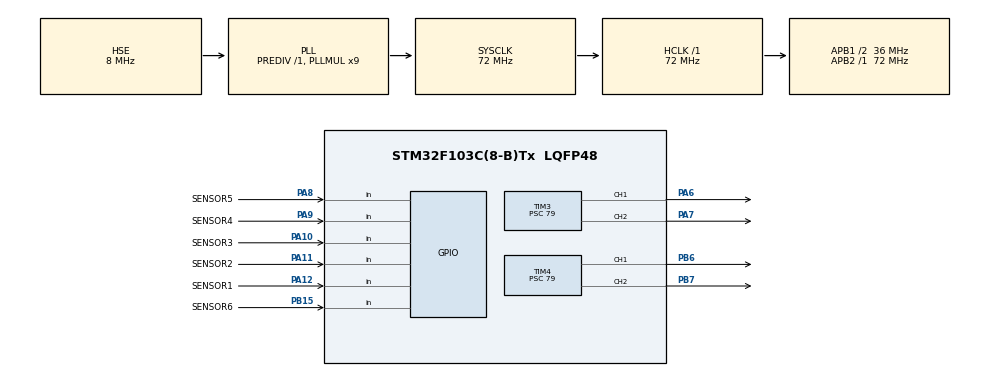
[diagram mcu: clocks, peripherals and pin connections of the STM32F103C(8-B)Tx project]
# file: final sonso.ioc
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Mcu.Family=STM32F1
Mcu.Name=STM32F103C(8-B)Tx
Mcu.Package=LQFP48
NVIC.PriorityGroup=NVIC_PRIORITYGROUP_4
PA10.GPIO_Label=SENSOR3
PA10.Signal=GPIO_Input
PA11.GPIO_Label=SENSOR2
PA11.Signal=GPIO_Input
PA12.GPIO_Label=SENSOR1
PA12.Signal=GPIO_Input
PA13.Mode=Serial_Wire
PA13.Signal=SYS_JTMS-SWDIO
PA14.Mode=Serial_Wire
PA14.Signal=SYS_JTCK-SWCLK
PA6.Signal=S_TIM3_CH1
PA7.Signal=S_TIM3_CH2
PA8.GPIO_Label=SENSOR5
PA8.Signal=GPIO_Input
PA9.GPIO_Label=SENSOR4
PA9.Signal=GPIO_Input
PB15.GPIO_Label=SENSOR6
PB15.Signal=GPIO_Input
PB6.Signal=S_TIM4_CH1
PB7.Signal=S_TIM4_CH2
PD0-OSC_IN.Mode=HSE-External-Oscillator
PD0-OSC_IN.Signal=RCC_OSC_IN
PD1-OSC_OUT.Mode=HSE-External-Oscillator
PD1-OSC_OUT.Signal=RCC_OSC_OUT
ProjectManager.HeapSize=0x200
ProjectManager.StackSize=0x400
ProjectManager.TargetToolchain=STM32CubeIDE
RCC.AHBFreq_Value=72000000
RCC.APB1CLKDivider=RCC_HCLK_DIV2
RCC.APB1Freq_Value=36000000
RCC.APB1TimFreq_Value=72000000
RCC.APB2Freq_Value=72000000
RCC.APB2TimFreq_Value=72000000
RCC.HCLKFreq_Value=72000000
RCC.PLLMUL=RCC_PLL_MUL9
RCC.PLLSourceVirtual=RCC_PLLSOURCE_HSE
RCC.SYSCLKFreq_VALUE=72000000
RCC.SYSCLKSource=RCC_SYSCLKSOURCE_PLLCLK
RCC.USBFreq_Value=72000000
SH.S_TIM3_CH1.0=TIM3_CH1,PWM Generation1 CH1
SH.S_TIM3_CH2.0=TIM3_CH2,PWM Generation2 CH2
SH.S_TIM4_CH1.0=TIM4_CH1,PWM Generation1 CH1
SH.S_TIM4_CH2.0=TIM4_CH2,PWM Generation2 CH2
TIM3.Channel-PWM\ Generation1\ CH1=TIM_CHANNEL_1
TIM3.Channel-PWM\ Generation2\ CH2=TIM_CHANNEL_2
TIM3.Period=999
TIM3.Prescaler=79
TIM3.Pulse-PWM\ Generation1\ CH1=199
TIM3.Pulse-PWM\ Generation2\ CH2=199
TIM4.Channel-PWM\ Generation1\ CH1=TIM_CHANNEL_1
TIM4.Channel-PWM\ Generation2\ CH2=TIM_CHANNEL_2
TIM4.Period=999
TIM4.Prescaler=79
TIM4.Pulse-PWM\ Generation1\ CH1=199
TIM4.Pulse-PWM\ Generation2\ CH2=199
VP_TIM3_VS_ClockSourceINT.Mode=Internal
VP_TIM4_VS_ClockSourceINT.Mode=Internal
board=custom

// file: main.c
/* USER CODE BEGIN Header */
/**
  ******************************************************************************
  * @file           : main.c
  * @brief          : Main program body
  ******************************************************************************
  * @attention
  *
  * Copyright (c) 2024 STMicroelectronics.
  * All rights reserved.
  *
  * This software is licensed under terms that can be found in the LICENSE file
  * in the root directory of this software component.
  * If no LICENSE file comes with this software, it is provided AS-IS.
  *
  ******************************************************************************
  */
/* USER CODE END Header */
#include "main.h"

/* USER CODE BEGIN PM */
/*#define SENSOR1_GPIO_Port GPIOA
#define SENSOR1_Pin GPIO_PIN_8

#define SENSOR2_GPIO_Port GPIOA
#define SENSOR2_Pin GPIO_PIN_9

#define SENSOR3_GPIO_Port GPIOA
#define SENSOR3_Pin GPIO_PIN_10

#define SENSOR4_GPIO_Port GPIOA
#define SENSOR4_Pin GPIO_PIN_11

#define SENSOR5_GPIO_Port GPIOA
#define SENSOR5_Pin GPIO_PIN_12

#define SENSOR6_GPIO_Port GPIOB
#define SENSOR6_Pin GPIO_PIN_15*/
/* USER CODE END PM */

TIM_HandleTypeDef htim3;
TIM_HandleTypeDef htim4;

/* USER CODE BEGIN PV */
int sensor_read = 0x000000;
	  	int position;

	  	float Kp = 10; //set up the constants value
	  	float Ki = 1;
	  	float Kd = 0.15;
	  	float Kr = 0;
	  	int P, I, D, R;
	  	int lastError = 0;
	  	int errors[10] = {0,0,0,0,0,0,0,0,0,0};// chú ý cái này để lưu lại giá trị các sai lệch đo được trong quá khư
	  	//int error_sum = 0;//
	  	int last_end = 0;	// 0 -> Left, 1 -> Right
	  	int last_idle ;
	  	int actives = 0;
	  	int straight = 0;

	  	const uint8_t maxspeedr = 100;
	  	const uint8_t maxspeedl = 100;
	  	const uint8_t basespeedr = 92;
	  	const uint8_t basespeedl = 92;
	  	const int ARR = 10;

/* USER CODE END PV */

void SystemClock_Config(void);
static void MX_GPIO_Init(void);
static void MX_TIM3_Init(void);
static void MX_TIM4_Init(void);

/* USER CODE BEGIN 0 */
void Set_Pin_Output (GPIO_TypeDef *GPIOx, uint16_t GPIO_Pin)
	  	{
	  		GPIO_InitTypeDef GPIO_InitStruct = {0};
	  		GPIO_InitStruct.Pin = GPIO_Pin;
	  		GPIO_InitStruct.Mode = GPIO_MODE_OUTPUT_PP;
	  		GPIO_InitStruct.Speed = GPIO_SPEED_FREQ_LOW;
	  		HAL_GPIO_Init(GPIOx, &GPIO_InitStruct);
	  	}

	  	void Set_Pin_Input (GPIO_TypeDef *GPIOx, uint16_t GPIO_Pin)
	  	{
	  		GPIO_InitTypeDef GPIO_InitStruct = {0};
	  		GPIO_InitStruct.Pin = GPIO_Pin;
	  		GPIO_InitStruct.Mode = GPIO_MODE_INPUT;
	  		GPIO_InitStruct.Pull = GPIO_PULLUP;
	  		HAL_GPIO_Init(GPIOx, &GPIO_InitStruct);
	  	}

	  	void motor_control (double pos_right, double pos_left)
	  	{
	  		if (pos_left < 0 )
	  		{
	  			__HAL_TIM_SET_COMPARE (&htim3, TIM_CHANNEL_1, ARR*0);
	  			__HAL_TIM_SET_COMPARE (&htim3, TIM_CHANNEL_2, ARR*pos_left);
	  		}
	  		else
	  		{
	  			__HAL_TIM_SET_COMPARE (&htim3, TIM_CHANNEL_1, ARR*pos_left);
	  			__HAL_TIM_SET_COMPARE (&htim3, TIM_CHANNEL_2, ARR*0);
	  		}
	  		if (pos_right < 0 )
	  		{
	  			__HAL_TIM_SET_COMPARE (&htim4, TIM_CHANNEL_1, ARR*0);
	  			__HAL_TIM_SET_COMPARE (&htim4, TIM_CHANNEL_2, ARR*pos_right);
	  		}
	  		else
	  		{
	  			__HAL_TIM_SET_COMPARE (&htim4, TIM_CHANNEL_1, ARR*pos_right);
	  			__HAL_TIM_SET_COMPARE (&htim4, TIM_CHANNEL_2, ARR*0);
	  		}
	  	}

	  	void sharp_turn () {

	  		if (last_idle < 25)
	  		{
	  			if (last_end == 1)
	  				motor_control(-20, 100);
	  			if (last_end == 2)
	  				motor_control(100, 100);
	  			if(straight == 1 )
	  				motor_control(100, 100);

	  			else
	  				motor_control(100, -20);
	  		}
	  		else
	  		{
	  			if (last_end == 1)
	  				motor_control(-53, 70);
	  			if (last_end == 2)
	  				motor_control(100, 100);
	  			if(straight ==1 )
	  				motor_control(100, 100);

	  			else
	  				motor_control(70, -53);
	  		}
	  	}

	  	int QTR8_read ()
	  	{
	  	//	HAL_GPIO_WritePin(LEDON_GPIO_Port, LEDON_Pin, 1);

	  		Set_Pin_Output(SENSOR1_GPIO_Port, SENSOR1_Pin);
	  		Set_Pin_Output(SENSOR2_GPIO_Port, SENSOR2_Pin);
	  		Set_Pin_Output(SENSOR3_GPIO_Port, SENSOR3_Pin);
	  		Set_Pin_Output(SENSOR4_GPIO_Port, SENSOR4_Pin);
	  		Set_Pin_Output(SENSOR5_GPIO_Port, SENSOR5_Pin);
	  		Set_Pin_Output(SENSOR6_GPIO_Port, SENSOR6_Pin);
	  		//Set_Pin_Output(SENSOR7_GPIO_Port, SENSOR7_Pin);
	  		//Set_Pin_Output(SENSOR8_GPIO_Port, SENSOR8_Pin);

	  		HAL_GPIO_WritePin (SENSOR1_GPIO_Port, SENSOR1_Pin, 1);
	  		HAL_GPIO_WritePin (SENSOR2_GPIO_Port, SENSOR2_Pin, 1);
	  		HAL_GPIO_WritePin (SENSOR3_GPIO_Port, SENSOR3_Pin, 1);
	  		HAL_GPIO_WritePin (SENSOR4_GPIO_Port, SENSOR4_Pin, 1);
	  		HAL_GPIO_WritePin (SENSOR5_GPIO_Port, SENSOR5_Pin, 1);
	  		HAL_GPIO_WritePin (SENSOR6_GPIO_Port, SENSOR6_Pin, 1);
	  		//HAL_GPIO_WritePin (SENSOR7_GPIO_Port, SENSOR7_Pin, 1);
	  		//HAL_GPIO_WritePin (SENSOR8_GPIO_Port, SENSOR8_Pin, 1);

	  		//delay_us(12);

	  		Set_Pin_Input(SENSOR1_GPIO_Port, SENSOR1_Pin);
	  		Set_Pin_Input(SENSOR2_GPIO_Port, SENSOR2_Pin);
	  		Set_Pin_Input(SENSOR3_GPIO_Port, SENSOR3_Pin);
	  		Set_Pin_Input(SENSOR4_GPIO_Port, SENSOR4_Pin);
	  		Set_Pin_Input(SENSOR5_GPIO_Port, SENSOR5_Pin);
	  		Set_Pin_Input(SENSOR6_GPIO_Port, SENSOR6_Pin);
	  		//Set_Pin_Input(SENSOR7_GPIO_Port, SENSOR7_Pin);
	  		//Set_Pin_Input(SENSOR8_GPIO_Port, SENSOR8_Pin);

	  		// Threshold
	  		//delay_us(6000);
	  		HAL_Delay(10);
	  		sensor_read = 0x000000;
	  		int pos = 0;
	  	  int active = 0;

	  		if (HAL_GPIO_ReadPin(SENSOR1_GPIO_Port, SENSOR1_Pin)) {
	  			sensor_read |= 0x000001;
	  			pos += 1000;
	  	    active++;
	  			last_end = 1;
	  		}
	  		if (HAL_GPIO_ReadPin(SENSOR2_GPIO_Port, SENSOR2_Pin)) {
	  			sensor_read |= 0x000010;
	  			pos += 2000;
	  	    active++;
	  	     last_end = 1;
	  	  }
	  		if (HAL_GPIO_ReadPin(SENSOR3_GPIO_Port, SENSOR3_Pin)) {
	  			sensor_read |= 0x000100;
	  			pos += 3000;
	  	    active++;
	  	    last_end = 2;
	  	  }
	  		if (HAL_GPIO_ReadPin(SENSOR4_GPIO_Port, SENSOR4_Pin)) {
	  			sensor_read |= 0x001000;
	  			pos += 4000;
	  	    active++;
	  	    last_end = 0;
	  	  }
	  		if (HAL_GPIO_ReadPin(SENSOR5_GPIO_Port, SENSOR5_Pin)) {
	  			sensor_read |= 0x010000;
	  			pos += 5000;
	  	    active++;
	  	    last_end = 0 ;
	  	  }
	  		if (HAL_GPIO_ReadPin(SENSOR6_GPIO_Port, SENSOR6_Pin)) {
	  			sensor_read |= 0x100000;
	  			straight ++;
	  		}//pos += 6000;
	  	    //active++;
	  	  //}
	  		//if (HAL_GPIO_ReadPin(SENSOR7_GPIO_Port, SENSOR7_Pin)) {
	  			//sensor_read |= 0x01000000;
	  			//pos += 7000;
	  	  //  active++;
	  	  //}
	  		//if (HAL_GPIO_ReadPin(SENSOR8_GPIO_Port, SENSOR8_Pin)) {
	  			//sensor_read |= 0x10000000;
	  			//pos += 8000;
	  	    //active++;
	  			//last_end = 0;
	  	  //}

	  	 // HAL_GPIO_WritePin(LEDON_GPIO_Port, LEDON_Pin, 0);

	  	  actives = active;
	  		position = pos/active;

	  		if (actives == 0)
	  			last_idle++;
	  		else
	  			last_idle = 0;

	  		return position;//pos/active;
	  	}

	  	void forward_brake(int pos_right, int pos_left)
	  	{
	  		if (actives == 0){
	  			sharp_turn();
	  		}

	  		if (actives!= 0 && straight==1)
	  			motor_control(100,100);
	  		else{
	  		  motor_control(pos_right, pos_left);

	  		}
	  	}

	  	void past_errors (int error)
	  	{
	  	  for (int i = 9; i > 0; i--)
	  	      errors[i] = errors[i-1];
	  	  errors[0] = error;
	  	}

	  	int errors_sum (int index, int abs)
	  	{
	  	  int sum = 0;
	  	  for (int i = 0; i < index; i++)
	  	  {
	  	    if (abs == 1 && errors[i] < 0)
	  	      sum += -errors[i];
	  	    else
	  	      sum += errors[i];
	  	  }
	  	  return sum;
	  	}

	  	void PID_control() {
	  		uint16_t position = QTR8_read();
	  	  int error = 3000 - position;
	  		past_errors(error);

	  	  P = error;
	  	  I = errors_sum(5, 0);
	  	  D = error - lastError;
	  	  R = errors_sum(5, 1);
	  	  lastError = error;

	  	  int motorspeed = P*Kp + I*Ki + D*Kd;

	  	  int motorspeedl = basespeedl + motorspeed - R*Kr;
	  	  int motorspeedr = basespeedr - motorspeed - R*Kr;

	  	  if (motorspeedl > maxspeedl)
	  	    motorspeedl = maxspeedl;
	  	  if (motorspeedr > maxspeedr)
	  	    motorspeedr = maxspeedr;

	  		forward_brake(motorspeedr, motorspeedl);
	  	}
/* USER CODE END 0 */

int main(void)
{

  /* MCU Configuration--------------------------------------------------------*/

  /* Reset of all peripherals, Initializes the Flash interface and the Systick. */
  HAL_Init();

  /* Configure the system clock */
  SystemClock_Config();

  /* Initialize all configured peripherals */
  MX_GPIO_Init();
  MX_TIM3_Init();
  MX_TIM4_Init();
  /* USER CODE BEGIN 2 */
	HAL_TIM_PWM_Start(&htim3, TIM_CHANNEL_1);
	HAL_TIM_PWM_Start(&htim4, TIM_CHANNEL_1);
	HAL_TIM_PWM_Start(&htim3, TIM_CHANNEL_2);
	HAL_TIM_PWM_Start(&htim4, TIM_CHANNEL_2);

	__HAL_TIM_SET_COMPARE (&htim3, TIM_CHANNEL_1, 100);
	__HAL_TIM_SET_COMPARE (&htim3, TIM_CHANNEL_2, 100);
	__HAL_TIM_SET_COMPARE (&htim4, TIM_CHANNEL_1, 0);
	__HAL_TIM_SET_COMPARE (&htim4, TIM_CHANNEL_2, 0);
	HAL_Delay(2000);

  /* USER CODE END 2 */

  /* Infinite loop */
  while (1)
  {

    /* USER CODE BEGIN 3 */
	  PID_control();
  }
  /* USER CODE END 3 */
}

void SystemClock_Config(void)
{
  RCC_OscInitTypeDef RCC_OscInitStruct = {0};
  RCC_ClkInitTypeDef RCC_ClkInitStruct = {0};

  /** Initializes the RCC Oscillators according to the specified parameters
  * in the RCC_OscInitTypeDef structure.
  */
  RCC_OscInitStruct.OscillatorType = RCC_OSCILLATORTYPE_HSE;
  RCC_OscInitStruct.HSEState = RCC_HSE_ON;
  RCC_OscInitStruct.HSEPredivValue = RCC_HSE_PREDIV_DIV1;
  RCC_OscInitStruct.HSIState = RCC_HSI_ON;
  RCC_OscInitStruct.PLL.PLLState = RCC_PLL_ON;
  RCC_OscInitStruct.PLL.PLLSource = RCC_PLLSOURCE_HSE;
  RCC_OscInitStruct.PLL.PLLMUL = RCC_PLL_MUL9;
  if (HAL_RCC_OscConfig(&RCC_OscInitStruct) != HAL_OK)
  {
    Error_Handler();
  }

  /** Initializes the CPU, AHB and APB buses clocks
  */
  RCC_ClkInitStruct.ClockType = RCC_CLOCKTYPE_HCLK|RCC_CLOCKTYPE_SYSCLK
                              |RCC_CLOCKTYPE_PCLK1|RCC_CLOCKTYPE_PCLK2;
  RCC_ClkInitStruct.SYSCLKSource = RCC_SYSCLKSOURCE_PLLCLK;
  RCC_ClkInitStruct.AHBCLKDivider = RCC_SYSCLK_DIV1;
  RCC_ClkInitStruct.APB1CLKDivider = RCC_HCLK_DIV2;
  RCC_ClkInitStruct.APB2CLKDivider = RCC_HCLK_DIV1;

  if (HAL_RCC_ClockConfig(&RCC_ClkInitStruct, FLASH_LATENCY_2) != HAL_OK)
  {
    Error_Handler();
  }
}

static void MX_TIM3_Init(void)
{

  TIM_ClockConfigTypeDef sClockSourceConfig = {0};
  TIM_MasterConfigTypeDef sMasterConfig = {0};
  TIM_OC_InitTypeDef sConfigOC = {0};

  htim3.Instance = TIM3;
  htim3.Init.Prescaler = 79;
  htim3.Init.CounterMode = TIM_COUNTERMODE_UP;
  htim3.Init.Period = 999;
  htim3.Init.ClockDivision = TIM_CLOCKDIVISION_DIV1;
  htim3.Init.AutoReloadPreload = TIM_AUTORELOAD_PRELOAD_DISABLE;
  if (HAL_TIM_Base_Init(&htim3) != HAL_OK)
  {
    Error_Handler();
  }
  sClockSourceConfig.ClockSource = TIM_CLOCKSOURCE_INTERNAL;
  if (HAL_TIM_ConfigClockSource(&htim3, &sClockSourceConfig) != HAL_OK)
  {
    Error_Handler();
  }
  if (HAL_TIM_PWM_Init(&htim3) != HAL_OK)
  {
    Error_Handler();
  }
  sMasterConfig.MasterOutputTrigger = TIM_TRGO_RESET;
  sMasterConfig.MasterSlaveMode = TIM_MASTERSLAVEMODE_DISABLE;
  if (HAL_TIMEx_MasterConfigSynchronization(&htim3, &sMasterConfig) != HAL_OK)
  {
    Error_Handler();
  }
  sConfigOC.OCMode = TIM_OCMODE_PWM1;
  sConfigOC.Pulse = 199;
  sConfigOC.OCPolarity = TIM_OCPOLARITY_HIGH;
  sConfigOC.OCFastMode = TIM_OCFAST_DISABLE;
  if (HAL_TIM_PWM_ConfigChannel(&htim3, &sConfigOC, TIM_CHANNEL_1) != HAL_OK)
  {
    Error_Handler();
  }
  if (HAL_TIM_PWM_ConfigChannel(&htim3, &sConfigOC, TIM_CHANNEL_2) != HAL_OK)
  {
    Error_Handler();
  }
  HAL_TIM_MspPostInit(&htim3);

}

static void MX_TIM4_Init(void)
{

  TIM_ClockConfigTypeDef sClockSourceConfig = {0};
  TIM_MasterConfigTypeDef sMasterConfig = {0};
  TIM_OC_InitTypeDef sConfigOC = {0};

  htim4.Instance = TIM4;
  htim4.Init.Prescaler = 79;
  htim4.Init.CounterMode = TIM_COUNTERMODE_UP;
  htim4.Init.Period = 999;
  htim4.Init.ClockDivision = TIM_CLOCKDIVISION_DIV1;
  htim4.Init.AutoReloadPreload = TIM_AUTORELOAD_PRELOAD_DISABLE;
  if (HAL_TIM_Base_Init(&htim4) != HAL_OK)
  {
    Error_Handler();
  }
  sClockSourceConfig.ClockSource = TIM_CLOCKSOURCE_INTERNAL;
  if (HAL_TIM_ConfigClockSource(&htim4, &sClockSourceConfig) != HAL_OK)
  {
    Error_Handler();
  }
  if (HAL_TIM_PWM_Init(&htim4) != HAL_OK)
  {
    Error_Handler();
  }
  sMasterConfig.MasterOutputTrigger = TIM_TRGO_RESET;
  sMasterConfig.MasterSlaveMode = TIM_MASTERSLAVEMODE_DISABLE;
  if (HAL_TIMEx_MasterConfigSynchronization(&htim4, &sMasterConfig) != HAL_OK)
  {
    Error_Handler();
  }
  sConfigOC.OCMode = TIM_OCMODE_PWM1;
  sConfigOC.Pulse = 199;
  sConfigOC.OCPolarity = TIM_OCPOLARITY_HIGH;
  sConfigOC.OCFastMode = TIM_OCFAST_DISABLE;
  if (HAL_TIM_PWM_ConfigChannel(&htim4, &sConfigOC, TIM_CHANNEL_1) != HAL_OK)
  {
    Error_Handler();
  }
  if (HAL_TIM_PWM_ConfigChannel(&htim4, &sConfigOC, TIM_CHANNEL_2) != HAL_OK)
  {
    Error_Handler();
  }
  HAL_TIM_MspPostInit(&htim4);

}

static void MX_GPIO_Init(void)
{
  GPIO_InitTypeDef GPIO_InitStruct = {0};

  /* GPIO Ports Clock Enable */
  __HAL_RCC_GPIOD_CLK_ENABLE();
  __HAL_RCC_GPIOA_CLK_ENABLE();
  __HAL_RCC_GPIOB_CLK_ENABLE();

  /*Configure GPIO pin : SENSOR6_Pin */
  GPIO_InitStruct.Pin = SENSOR6_Pin;
  GPIO_InitStruct.Mode = GPIO_MODE_INPUT;
  GPIO_InitStruct.Pull = GPIO_NOPULL;
  HAL_GPIO_Init(SENSOR6_GPIO_Port, &GPIO_InitStruct);

  /*Configure GPIO pins : SENSOR5_Pin SENSOR4_Pin SENSOR3_Pin SENSOR2_Pin
                           SENSOR1_Pin */
  GPIO_InitStruct.Pin = SENSOR5_Pin|SENSOR4_Pin|SENSOR3_Pin|SENSOR2_Pin
                          |SENSOR1_Pin;
  GPIO_InitStruct.Mode = GPIO_MODE_INPUT;
  GPIO_InitStruct.Pull = GPIO_NOPULL;
  HAL_GPIO_Init(GPIOA, &GPIO_InitStruct);

}

void Error_Handler(void)
{
  __disable_irq();
  while (1)
  {
  }
}
